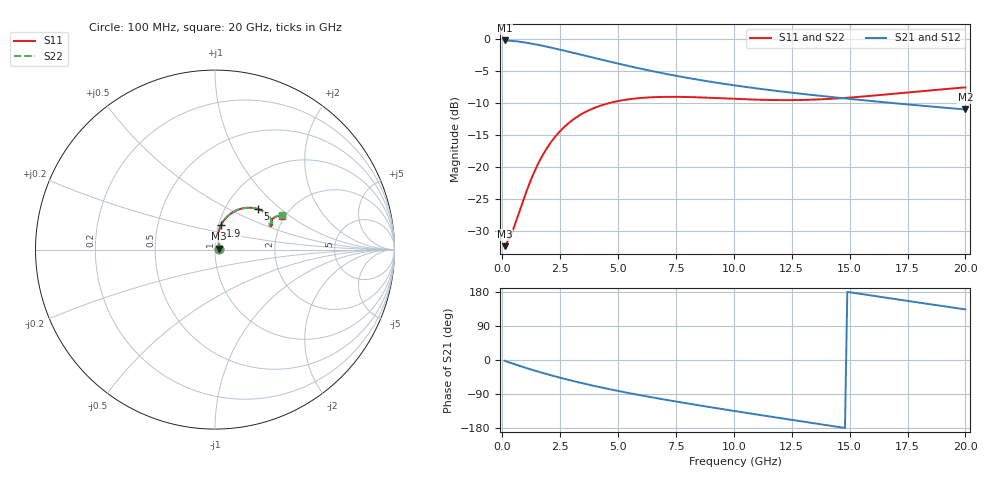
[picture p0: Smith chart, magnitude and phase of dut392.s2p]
! Touchstone file exported from HFSS 2024.1.0
!  File:  C:/UserFiles/LocalFiles/RDL_TSV_Batchsim/temp_RDL_TSV_392_1779647810.aedt
!  Generated:  02:50:07 AM May 25, 2026
!  Design:  RDL_TSV
!  Project:  temp_RDL_TSV_392_1779647810
!  Setup:  Setup1
!  Solution:  Sweep
! Variables:
!  dtsv = 14.67um
!  hbump = 3um
!  htsv = 63.92um
!  ldown = 540.24um
!  lrdl = 401.39um
!  p = 40
!  p1 = 55.47um
!  rhole = 10um
!  subl = 3226.28um
!  t = 450um
!  tdown = 3.02um
!  trdl = 4.71um
!  viad = 10um
!  wdown = 13.58um
!  wrdl = 11.92um
!  xbump = 18um
# GHz S MA R 50.000000
! Terminal data exported
! Port[1] = TM1_1_T1
! Port[2] = TM1_4_T1
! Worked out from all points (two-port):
!   200 points, 100 MHz to 20 GHz, reference 50 ohm
!   highest |S21| = -0.21 dB at 100 MHz (marker M1); lowest = -11.0 dB at 20 GHz (marker M2)
!   |S21| within 3 dB of the highest: start of sweep to 4.287 GHz
!   lowest |S11| = -32.3 dB at 100 MHz (marker M3), VSWR 1.05, Z = 52.4 + j0.555 ohm
!   |S11| at or under -10 dB: start of sweep to 4.607 GHz
!   |S22| runs from -32.3 to -7.5 dB; largest |S21 - S12| = 8.1e-15
!   S11 on the Smith chart (normalised r, x): 100 MHz: 1.05, +0.01; 1.9 GHz: 1.03, +0.28; 5 GHz: 1.41, +0.72; 20 GHz: 1.93, +0.89
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0.1  0.02418 12.6  0.9759 -2.1  0.9759 -2.1  0.02418 12.6
! Gamma 0 0 0 0
! Port Impedance 50 0 50 0
0.4  0.03047 42.2  0.9689 -8.4  0.9689 -8.4  0.03047 42.2
1  0.06153 73.2  0.9394 -20.5  0.9394 -20.5  0.0615 73.2
1.4  0.09335 78.0  0.9124 -28.0  0.9124 -28.0  0.09329 78.0
1.6  0.111 78.0  0.8976 -31.6  0.8976 -31.6  0.1109 78.0
1.9  0.1383 76.4  0.8745 -36.9  0.8745 -36.9  0.1382 76.4
2.2  0.1655 73.7  0.8506 -41.9  0.8506 -41.9  0.1654 73.7
2.6  0.1999 69.2  0.8186 -48.4  0.8186 -48.4  0.1998 69.2
3  0.231 64.4  0.7868 -54.6  0.7868 -54.6  0.2309 64.5
3.5  0.2643 58.5  0.7481 -61.9  0.7481 -61.9  0.2642 58.6
4.2  0.3005 51.0  0.6969 -71.5  0.6969 -71.5  0.3004 51.0
5  0.3283 43.5  0.6439 -81.7  0.6439 -81.7  0.3281 43.5
5.9  0.346 36.7  0.5917 -92.3  0.5917 -92.3  0.3458 36.7
6.8  0.3534 31.4  0.547 -102.2  0.547 -102.2  0.3532 31.4
8.4  0.3514 25.3  0.4837 -118.7  0.4837 -118.7  0.3511 25.3
10.1  0.3412 22.7  0.4334 -135.3  0.4334 -135.3  0.3409 22.7
11.7  0.3344 23.0  0.397 -150.5  0.397 -150.5  0.3341 23.1
13.4  0.3367 25.1  0.3659 -166.4  0.3659 -166.4  0.3364 25.2
15  0.3494 27.1  0.3414 178.8  0.3414 178.8  0.3492 27.2
16.7  0.3715 28.3  0.3188 163.2  0.3188 163.2  0.3714 28.4
18.4  0.397 28.1  0.2988 147.8  0.2988 147.8  0.397 28.2
20  0.4195 26.8  0.2823 133.5  0.2823 133.5  0.4197 27.0
